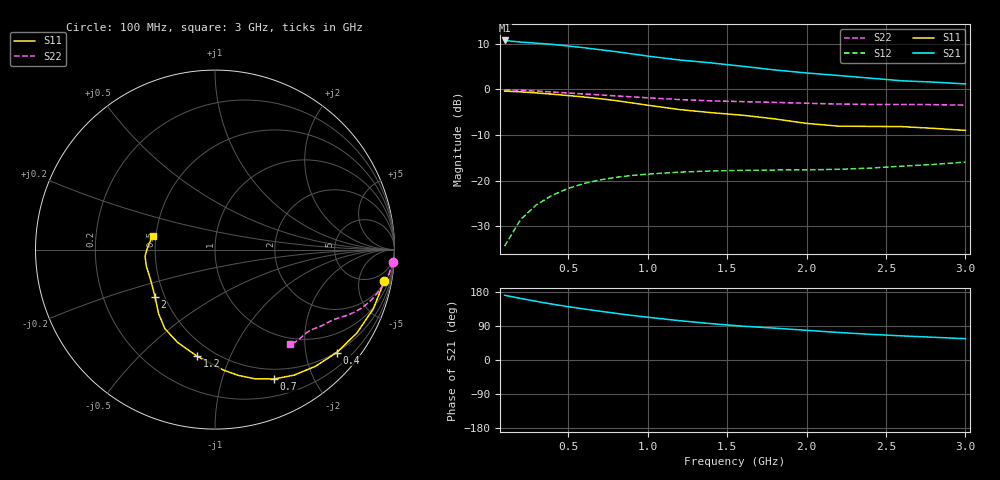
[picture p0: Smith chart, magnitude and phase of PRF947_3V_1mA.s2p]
! Filename:  PRF947B.S2P  Version:  3.0
! Philips part #:  PRF947  Date:  Nov 1998
! Bias condition:  Vce=3V, Ic=1.0mA
#  MHz  S  MA  R 50
! Freq  S11  S21  S12  S22  :
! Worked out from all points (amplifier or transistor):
!   20 points, 100 MHz to 3 GHz, reference 50 ohm
!   highest |S21| = 10.8 dB at 100 MHz (marker M1)
!   |S21| within 3 dB of that: start of sweep to 912.8 MHz
!   unconditionally stable (mu >= 1): 2.123 GHz to end of sweep
!   at 400 MHz: K = 0.17, MSG = 16.5 dB, |S12| = -23.2 dB
!   at 1.2 GHz: K = 0.53, MSG = 12.3 dB, |S12| = -18.1 dB
!   at 3 GHz: K = 1.15, MAG = 6.2 dB, |S12| = -15.9 dB
!   S11 on the Smith chart (normalised r, x): 100 MHz: 2, -10; 400 MHz: 0.49, -2.65; 700 MHz: 0.38, -1.49; 1.2 GHz: 0.41, -0.76; 2 GHz: 0.44, -0.28; 3 GHz: 0.48, +0.09
100  0.9599 -10.4  3.451 170.9  0.01909 83.3  0.9934 -4.0
200  0.9417 -20.5  3.312 162.5  0.03737 77.7  0.9791 -7.9
300  0.9168 -30.5  3.221 154.7  0.05424 72.4  0.9604 -11.4
400  0.8882 -40.2  3.128 147.4  0.06924 67.5  0.9389 -14.7
500  0.858 -49.3  3 140.8  0.08218 63.5  0.9159 -17.7
600  0.8269 -57.7  2.873 134.6  0.09301 59.9  0.893 -20.3
700  0.7926 -65.4  2.732 128.8  0.1018 56.8  0.8715 -22.4
800  0.7546 -72.6  2.602 123.2  0.1087 54.0  0.8502 -24.2
900  0.7131 -79.4  2.461 117.7  0.1139 51.7  0.83 -25.8
1000  0.6726 -86.0  2.326 112.9  0.1178 49.9  0.8103 -27.2
1200  0.6026 -99.5  2.108 103.8  0.1238 47.2  0.7752 -29.9
1400  0.5568 -112.2  1.958 95.9  0.1278 45.7  0.7509 -32.5
1600  0.5215 -122.4  1.795 89.2  0.1296 46.0  0.7357 -34.8
1800  0.4758 -131.3  1.639 84.0  0.1308 47.7  0.7216 -36.7
2000  0.4248 -141.9  1.518 78.3  0.1314 49.8  0.7064 -38.6
2200  0.3962 -154.9  1.424 72.7  0.1331 52.6  0.6924 -41.1
2400  0.3935 -166.4  1.332 67.8  0.1372 56.2  0.6857 -44.0
2600  0.3914 -174.8  1.246 63.6  0.1443 60.5  0.6856 -46.7
2800  0.3746 177.5  1.204 60.0  0.1504 64.6  0.682 -48.9
3000  0.3555 167.3  1.151 56.2  0.1599 68.7  0.673 -51.4
